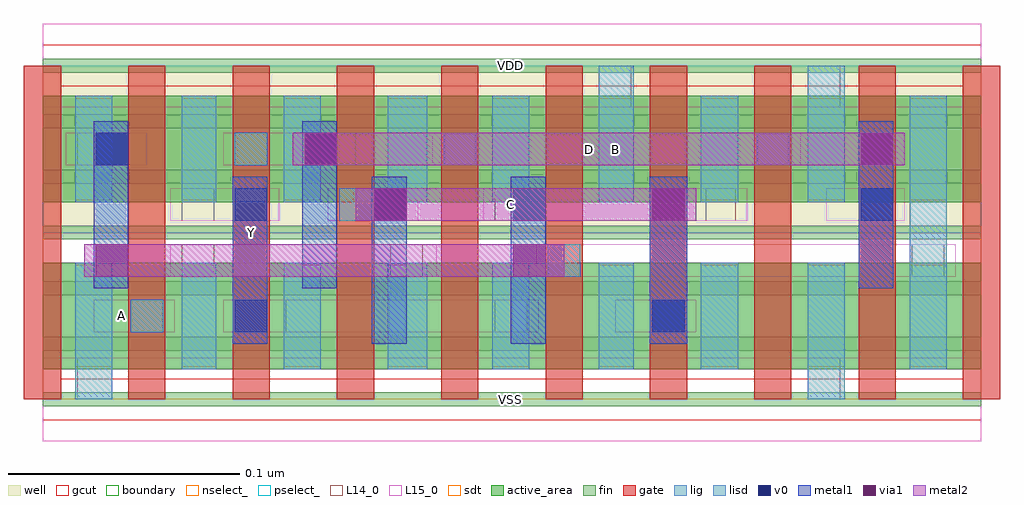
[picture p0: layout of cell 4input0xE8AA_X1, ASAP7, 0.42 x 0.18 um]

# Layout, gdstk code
import gdstk
lib = gdstk.Library(unit=1e-6, precision=1e-09)
def R(c, l, rs):  # rectangles x0, y0, x1, y1
    for r in rs: c.add(gdstk.rectangle(r[:2], r[2:], *l))
def A(c, l, x, y, w, h, nx, ny, dx, dy):  # array of equal rectangles
    R(c, l, [(x+i*dx, y+j*dy, x+i*dx+w, y+j*dy+h) for i in range(nx) for j in range(ny)])
def P(c, l, *ps):  # polygons
    for p in ps: c.add(gdstk.Polygon(p, *l))
well = (1, 0)
fin = (2, 0)
gate = (7, 0)
gcut = (10, 0)
active_area = (11, 0)
nselect_ = (12, 0)
pselect_ = (13, 0)
L14_0 = (14, 0)
L15_0 = (15, 0)
lig = (16, 0)
lisd = (17, 0)
v0 = (18, 0)
metal1 = (19, 0)
metal2 = (20, 0)
via1 = (21, 0)
sdt = (88, 0)
boundary = (100, 0)

c_4input0xe8aa_x1 = lib.new_cell('4input0xE8AA_X1')
R(c_4input0xe8aa_x1, well, [(0,0.072,0.405,0.144)])
A(c_4input0xe8aa_x1, fin, 0, -0.003, 0.405, 0.006, 1, 7, 0, 0.024)
A(c_4input0xe8aa_x1, gate, -0.008, 0, 0.016, 0.144, 10, 1, 0.045, 0)
P(c_4input0xe8aa_x1, gcut, [(0,-0.009),(0,0),(-0.008,0),(-0.008,0.135),(0.008,0.135),(0.008,0.009),(0.397,0.009),(0.397,0.135),(-0.008,0.135),(-0.008,0.144),(0,0.144),(0,0.153),(0.405,0.153),(0.405,0.144),(0.413,0.144),(0.413,0),(0.405,0),(0.405,-0.009)])
R(c_4input0xe8aa_x1, active_area, [(0,0.013,0.405,0.059), (0,0.085,0.405,0.131)])
R(c_4input0xe8aa_x1, nselect_, [(0,0,0.405,0.072)])
R(c_4input0xe8aa_x1, pselect_, [(0,0.072,0.405,0.144)])
R(c_4input0xe8aa_x1, L14_0, [(0.015,0,0.03,0.018), (0.33,0,0.344,0.018), (0.038,0.029,0.052,0.043), (0.105,0.029,0.12,0.043), (0.195,0.029,0.209,0.043), (0.263,0.029,0.277,0.043), (0.06,0.053,0.074,0.067), (0.15,0.053,0.164,0.067), (0.218,0.053,0.232,0.067), (0.375,0.053,0.389,0.067), (0.06,0.077,0.074,0.091), (0.128,0.077,0.142,0.091), (0.195,0.077,0.209,0.091), (0.286,0.077,0.299,0.091), (0.353,0.077,0.367,0.091), (0.015,0.101,0.03,0.115), (0.083,0.101,0.097,0.115), (0.173,0.101,0.187,0.115), (0.308,0.101,0.322,0.115), (0.24,0.126,0.254,0.144), (0.33,0.126,0.344,0.144)])
R(c_4input0xe8aa_x1, L15_0, [(0,-0.018,0.405,0.018), (0.022,0.029,0.057,0.043), (0.078,0.029,0.214,0.043), (0.247,0.029,0.282,0.043), (0.055,0.053,0.17,0.067), (0.213,0.053,0.394,0.067), (0.055,0.077,0.102,0.091), (0.123,0.077,0.162,0.091), (0.19,0.077,0.304,0.091), (0.338,0.077,0.372,0.091), (0.01,0.101,0.045,0.115), (0.078,0.101,0.135,0.115), (0.168,0.101,0.327,0.115), (0,0.126,0.405,0.162)])
R(c_4input0xe8aa_x1, lig, [(0.038,0.029,0.052,0.043), (0.263,0.029,0.277,0.043), (0.218,0.053,0.232,0.067), (0.128,0.077,0.142,0.091), (0.353,0.077,0.367,0.091), (0.083,0.101,0.097,0.115), (0.173,0.101,0.187,0.115), (0.308,0.101,0.322,0.115)])
A(c_4input0xe8aa_x1, lisd, 0.104, 0.013, 0.016, 0.046, 3, 1, 0.09, 0)
A(c_4input0xe8aa_x1, lisd, 0.014, 0.085, 0.016, 0.046, 4, 1, 0.09, 0)
R(c_4input0xe8aa_x1, lisd, [(0.014,0,0.03,0.059), (0.33,0,0.346,0.059), (0.06,0.013,0.075,0.059), (0.149,0.013,0.166,0.059), (0.24,0.013,0.255,0.059), (0.374,0.013,0.39,0.131), (0.06,0.085,0.075,0.131), (0.149,0.085,0.166,0.131), (0.24,0.085,0.255,0.144), (0.33,0.085,0.346,0.144)])
A(c_4input0xe8aa_x1, v0, 0.083, 0.077, 0.014, 0.014, 3, 1, 0.06, 0)
R(c_4input0xe8aa_x1, v0, [(0.083,0.029,0.097,0.043), (0.263,0.029,0.277,0.043), (0.353,0.077,0.367,0.091), (0.023,0.101,0.037,0.115), (0.113,0.101,0.127,0.115)])
A(c_4input0xe8aa_x1, metal1, 0.082, 0.024, 0.015, 0.072, 3, 1, 0.06, 0)
R(c_4input0xe8aa_x1, metal1, [(0.262,0.024,0.278,0.096), (0.022,0.048,0.037,0.12), (0.112,0.048,0.127,0.12), (0.352,0.048,0.367,0.12)])
R(c_4input0xe8aa_x1, metal2, [(0.018,0.053,0.225,0.067), (0.135,0.077,0.282,0.091), (0.108,0.101,0.372,0.115)])
R(c_4input0xe8aa_x1, via1, [(0.023,0.053,0.037,0.067), (0.203,0.053,0.217,0.067), (0.143,0.077,0.157,0.091), (0.263,0.077,0.277,0.091), (0.113,0.101,0.127,0.115), (0.353,0.101,0.367,0.115)])
A(c_4input0xe8aa_x1, sdt, 0.014, 0.014, 0.016, 0.044, 4, 2, 0.09, 0.072)
R(c_4input0xe8aa_x1, sdt, [(0.06,0.014,0.075,0.058), (0.149,0.014,0.166,0.058), (0.24,0.014,0.255,0.058), (0.33,0.014,0.346,0.058), (0.374,0.014,0.39,0.058), (0.06,0.086,0.075,0.13), (0.149,0.086,0.166,0.13), (0.24,0.086,0.255,0.13), (0.33,0.086,0.346,0.13), (0.374,0.086,0.39,0.13)])
R(c_4input0xe8aa_x1, boundary, [(0,0,0.405,0.144)])
c_4input0xe8aa_x1.add(gdstk.Label('VSS', (0.202,0), layer=15, texttype=251))
c_4input0xe8aa_x1.add(gdstk.Label('VDD', (0.202,0.144), layer=15, texttype=251))
c_4input0xe8aa_x1.add(gdstk.Label('VSS', (0.202,0), layer=15, texttype=251))
c_4input0xe8aa_x1.add(gdstk.Label('VDD', (0.202,0.144), layer=15, texttype=251))
c_4input0xe8aa_x1.add(gdstk.Label('B', (0.247,0.108), layer=15, texttype=251))
c_4input0xe8aa_x1.add(gdstk.Label('VSS', (0.202,0), layer=15, texttype=251))
c_4input0xe8aa_x1.add(gdstk.Label('VDD', (0.202,0.144), layer=15, texttype=251))
c_4input0xe8aa_x1.add(gdstk.Label('VSS', (0.202,0), layer=15, texttype=251))
c_4input0xe8aa_x1.add(gdstk.Label('VDD', (0.202,0.144), layer=15, texttype=251))
c_4input0xe8aa_x1.add(gdstk.Label('A', (0.034,0.036), layer=15, texttype=251))
c_4input0xe8aa_x1.add(gdstk.Label('VSS', (0.202,0), layer=15, texttype=251))
c_4input0xe8aa_x1.add(gdstk.Label('VDD', (0.202,0.144), layer=15, texttype=251))
c_4input0xe8aa_x1.add(gdstk.Label('C', (0.202,0.084), layer=20, texttype=251))
c_4input0xe8aa_x1.add(gdstk.Label('D', (0.236,0.108), layer=20, texttype=251))
c_4input0xe8aa_x1.add(gdstk.Label('VSS', (0.202,0), layer=3, texttype=251))
c_4input0xe8aa_x1.add(gdstk.Label('VSS', (0.202,0), layer=3, texttype=251))
c_4input0xe8aa_x1.add(gdstk.Label('VSS', (0.202,0), layer=3, texttype=251))
c_4input0xe8aa_x1.add(gdstk.Label('VSS', (0.202,0), layer=3, texttype=251))
c_4input0xe8aa_x1.add(gdstk.Label('VSS', (0.202,0), layer=3, texttype=251))
c_4input0xe8aa_x1.add(gdstk.Label('VDD', (0.202,0.144), layer=1, texttype=251))
c_4input0xe8aa_x1.add(gdstk.Label('VDD', (0.202,0.144), layer=1, texttype=251))
c_4input0xe8aa_x1.add(gdstk.Label('VDD', (0.202,0.144), layer=1, texttype=251))
c_4input0xe8aa_x1.add(gdstk.Label('VDD', (0.202,0.144), layer=1, texttype=251))
c_4input0xe8aa_x1.add(gdstk.Label('VDD', (0.202,0.144), layer=1, texttype=251))
c_4input0xe8aa_x1.add(gdstk.Label('Y', (0.09,0.072), layer=19, texttype=251))

lib.write_gds('4input0xE8AA_X1.gds')
